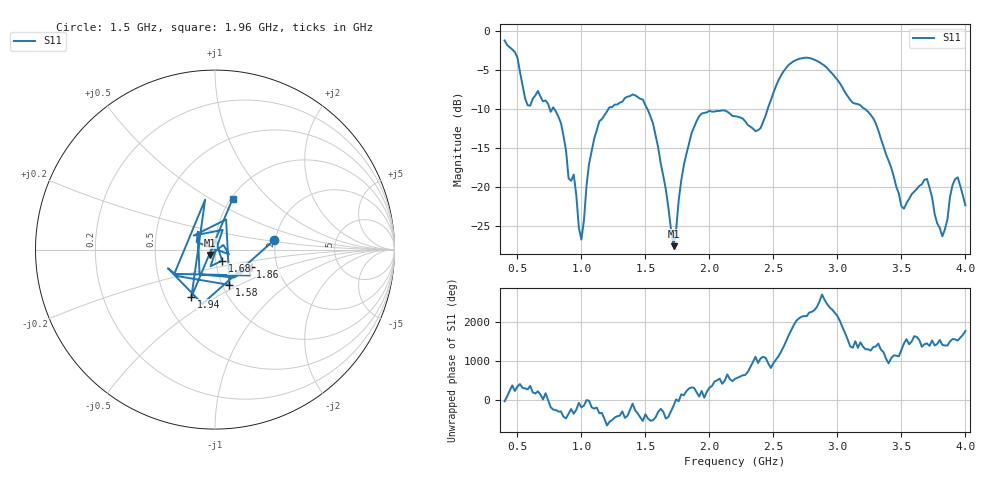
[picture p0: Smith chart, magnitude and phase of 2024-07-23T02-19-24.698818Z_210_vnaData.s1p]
!Created with skrf (http://scikit-rf.org).
# Hz S RI R 50.0
!freq ReS11 ImS11
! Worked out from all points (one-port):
!   181 points, 400 MHz to 4 GHz, reference 50 ohm
!   lowest |S11| = -27.5 dB at 1.72 GHz (marker M1), VSWR 1.09, Z = 47 - j2.8 ohm
!   |S11| at or under -10 dB: 787.8 MHz to 1.212 GHz (424 MHz wide, 42.4 % of centre); 1.515 GHz to 2.456 GHz (940.9 MHz wide, 47.4 % of centre); 3.213 GHz to end of sweep (the widest 3 of 4)
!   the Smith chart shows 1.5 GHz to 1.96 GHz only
!   S11 on the Smith chart (normalised r, x): 1.5 GHz: 1.96, +0.23; 1.58 GHz: 1.08, -0.45; 1.68 GHz: 1.07, -0.13; 1.86 GHz: 1.46, -0.29; 1.94 GHz: 0.68, -0.39; 1.96 GHz: 1.02, +0.63
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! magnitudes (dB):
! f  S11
! 400 MHz  -1.3
! 580 MHz  -9.5
! 660 MHz  -7.7
! 860 MHz  -13.5
! 900 MHz  -18.9
! 940 MHz  -18.4
! 1 GHz  -26.7
! 1.1 GHz  -13.8
! 1.3 GHz  -9.2
! 1.5 GHz  -9.5
! 1.58 GHz  -13.4
! 1.68 GHz  -22.7
! 1.72 GHz  -27.5
! 1.76 GHz  -21.7
! 1.86 GHz  -13.1
! 1.94 GHz  -10.6
! 1.96 GHz  -10.5
! 2.2 GHz  -10.9
! 2.4 GHz  -12.5
! 2.66 GHz  -3.9
! 3.1 GHz  -8.8
! 3.28 GHz  -11.2
! 3.5 GHz  -22.4
! 3.56 GHz  -21.5
! 3.7 GHz  -19.0
! 3.82 GHz  -26.3
! 3.92 GHz  -19.0
! 4 GHz  -22.3
